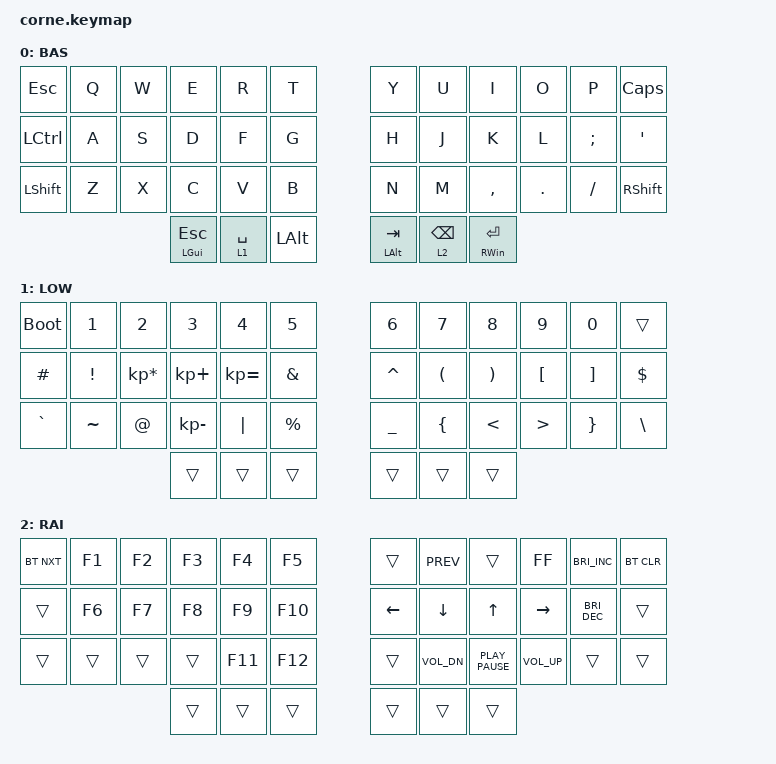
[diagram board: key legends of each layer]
/*
 * Copyright (c) 2020 The ZMK Contributors
 *
 * SPDX-License-Identifier: MIT
 */

#include <dt-bindings/led/led.h>
#include <dt-bindings/zmk/reset.h>
#include <behaviors.dtsi>
#include <dt-bindings/zmk/bt.h>
#include <dt-bindings/zmk/keys.h>

&led_strip { chain-length = <27>; };

&lt { flavor = "balanced"; };

/ {
    combos {
        compatible = "zmk,combos";

        capsword {
            bindings = <&caps_word>;
            key-positions = <24 35>;
            require-prior-idle-ms = <0>;
            timeout-ms = <200>;
        };
    };

    keymap {
        compatible = "zmk,keymap";

        default_layer {
            display-name = "BAS";

            // -----------------------------------------------------------------------------------------
            // |  TAB |  Q  |  W  |  E  |  R  |  T  |   |  Y  |  U   |  I  |  O  |  P  | BKSP |
            // | CTRL |  A  |  S  |  D  |  F  |  G  |   |  H  |  J   |  K  |  L  |  ;  |  '   |
            // | SHFT |  Z  |  X  |  C  |  V  |  B  |   |  N  |  M   |  ,  |  .  |  /  | ESC  |
            //                    | GUI | LWR | SPC |   | ENT | RSE  | ALT |

            bindings = <
&kp ESCAPE  &kp Q  &kp W  &kp E         &kp R        &kp T           &kp Y             &kp U            &kp I                &kp O    &kp P     &kp CAPSLOCK
&kp LCTRL   &kp A  &kp S  &kp D         &kp F        &kp G           &kp H             &kp J            &kp K                &kp L    &kp SEMI  &kp SQT
&kp LSHFT   &kp Z  &kp X  &kp C         &kp V        &kp B           &kp N             &kp M            &kp COMMA            &kp DOT  &kp FSLH  &kp RSHIFT
                          &mt LGUI ESC  &lt 1 SPACE  &kp LEFT_ALT    &mt LEFT_ALT TAB  &lt 2 BACKSPACE  &mt RIGHT_WIN ENTER
            >;
        };

        lower_layer {
            display-name = "LOW";

            // -----------------------------------------------------------------------------------------
            // |  TAB |  1  |  2  |  3  |  4  |  5  |   |  6  |  7  |  8  |  9  |  0  | BKSP |
            // | BTCLR| BT1 | BT2 | BT3 | BT4 | BT5 |   | LFT | DWN |  UP | RGT |     |      |
            // | SHFT |     |     |     |     |     |   |     |     |     |     |     |      |
            //                    | GUI |     | SPC |   | ENT |     | ALT |

            bindings = <
&bootloader  &kp N1           &kp N2           &kp N3        &kp N4        &kp N5           &kp N6          &kp N7                &kp N8                 &kp N9            &kp N0             &trans
&kp HASH     &kp EXCLAMATION  &kp KP_ASTERISK  &kp KP_PLUS   &kp KP_EQUAL  &kp AMPERSAND    &kp CARET       &kp LEFT_PARENTHESIS  &kp RIGHT_PARENTHESIS  &kp LEFT_BRACKET  &kp RIGHT_BRACKET  &kp DOLLAR
&kp GRAVE    &kp TILDE        &kp AT_SIGN      &kp KP_MINUS  &kp PIPE      &kp PERCENT      &kp UNDERSCORE  &kp LEFT_BRACE        &kp LESS_THAN          &kp GREATER_THAN  &kp RIGHT_BRACE    &kp BACKSLASH
                                               &trans        &trans        &trans           &trans          &trans                &trans
            >;
        };

        raise_layer {
            display-name = "RAI";

            // -----------------------------------------------------------------------------------------
            // |  TAB |  !  |  @  |  #  |  $  |  %  |   |  ^  |  &  |  *  |  (  |  )  | BKSP |
            // | CTRL |     |     |     |     |     |   |  -  |  =  |  [  |  ]  |  \  |  `   |
            // | SHFT |     |     |     |     |     |   |  _  |  +  |  {  |  }  | "|" |  ~   |
            //                    | GUI |     | SPC |   | ENT |     | ALT |

            bindings = <
&bt BT_NXT  &kp F1  &kp F2  &kp F3  &kp F4   &kp F5     &trans    &kp K_PREV      &trans            &kp C_FF      &kp C_BRIGHTNESS_INC  &bt BT_CLR
&trans      &kp F6  &kp F7  &kp F8  &kp F9   &kp F10    &kp LEFT  &kp DOWN_ARROW  &kp UP_ARROW      &kp RIGHT     &kp C_BRIGHTNESS_DEC  &trans
&trans      &trans  &trans  &trans  &kp F11  &kp F12    &trans    &kp C_VOL_DN    &kp K_PLAY_PAUSE  &kp C_VOL_UP  &trans                &trans
                            &trans  &trans   &trans     &trans    &trans          &trans
            >;
        };
    };
};
